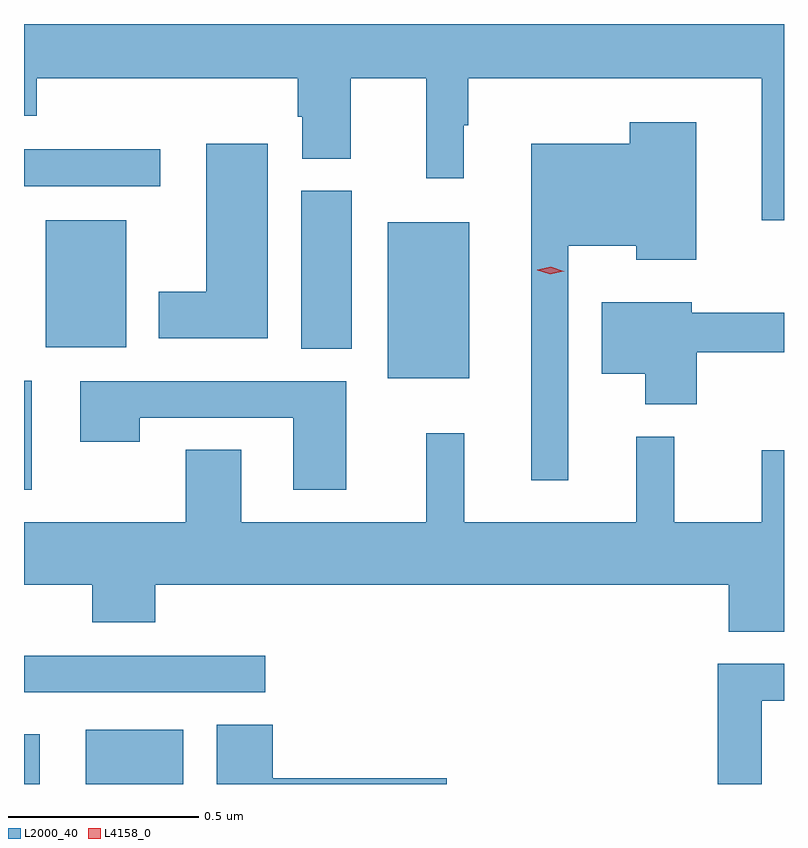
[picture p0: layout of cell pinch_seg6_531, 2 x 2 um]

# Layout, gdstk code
import gdstk
lib = gdstk.Library(unit=1e-6, precision=1e-09)
def R(c, l, rs):  # rectangles x0, y0, x1, y1
    for r in rs: c.add(gdstk.rectangle(r[:2], r[2:], *l))
def P(c, l, *ps):  # polygons
    for p in ps: c.add(gdstk.Polygon(p, *l))
L2000_40 = (2000, 40)
L4158_0 = (4158, 0)

pinch_seg6_531 = lib.new_cell('pinch_seg6_531')
R(pinch_seg6_531, L2000_40, [(822.407,936.155,822.448,936.286), (822.569,936.155,822.826,936.298), (822.407,936.396,823.042,936.492), (822.407,936.93,822.427,937.216), (823.364,937.223,823.579,937.633), (823.136,937.3,823.27,937.716), (822.464,937.304,822.676,937.639), (822.407,937.728,822.766,937.826)])
P(pinch_seg6_531, L2000_40, [(824.407,938.155),(822.407,938.155),(822.407,937.913),(822.44,937.913),(822.44,938.012),(823.127,938.012),(823.127,937.911),(823.139,937.911),(823.139,937.801),(823.267,937.801),(823.267,938.012),(823.466,938.012),(823.466,937.749),(823.564,937.749),(823.564,937.889),(823.576,937.889),(823.576,938.012),(824.348,938.012),(824.348,937.638),(824.407,937.638)],
  [(823.839,937.571),(824.018,937.571),(824.018,937.535),(824.176,937.535),(824.176,937.897),(824.001,937.897),(824.001,937.84),(823.742,937.84),(823.742,936.954),(823.839,936.954)],
  [(823.048,937.84),(822.887,937.84),(822.887,937.45),(822.761,937.45),(822.761,937.328),(823.048,937.328)],
  [(824.177,937.291),(824.407,937.291),(824.407,937.395),(824.164,937.395),(824.164,937.423),(823.928,937.423),(823.928,937.235),(824.042,937.235),(824.042,937.154),(824.177,937.154)],
  [(823.255,937.215),(822.555,937.215),(822.555,937.056),(822.711,937.056),(822.711,937.119),(823.115,937.119),(823.115,936.93),(823.255,936.93)],
  [(824.407,937.033),(824.348,937.033),(824.348,936.844),(824.118,936.844),(824.118,937.069),(824.018,937.069),(824.018,936.844),(823.565,936.844),(823.565,937.078),(823.466,937.078),(823.466,936.844),(822.979,936.844),(822.979,937.034),(822.832,937.034),(822.832,936.844),(822.407,936.844),(822.407,936.68),(822.587,936.68),(822.587,936.581),(822.752,936.581),(822.752,936.68),(824.261,936.68),(824.261,936.556),(824.407,936.556)],
  [(824.349,936.374),(824.407,936.374),(824.407,936.471),(824.233,936.471),(824.233,936.155),(824.349,936.155)],
  [(823.519,936.17),(823.061,936.17),(823.061,936.311),(822.914,936.311),(822.914,936.155),(823.519,936.155)])
P(pinch_seg6_531, L4158_0, [(823.792,937.496),(823.757,937.507),(823.757,937.508),(823.757,937.508),(823.793,937.516),(823.828,937.505),(823.829,937.505),(823.828,937.505)])

lib.write_gds('pinch_seg6_531.gds')
